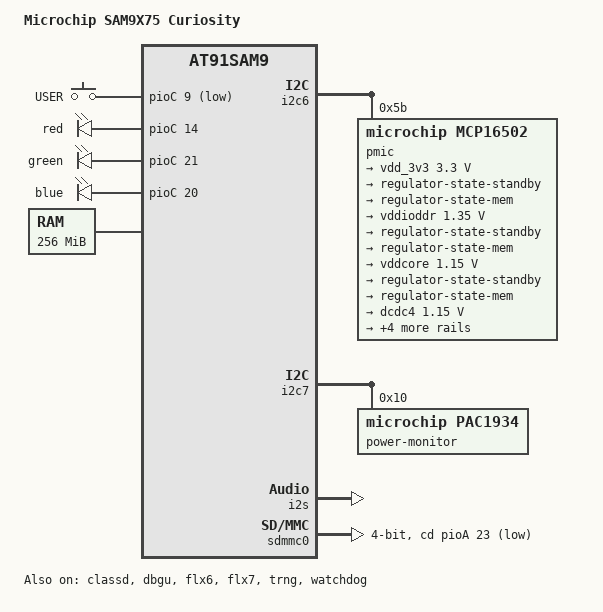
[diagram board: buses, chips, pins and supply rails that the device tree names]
// SPDX-License-Identifier: (GPL-2.0+ OR MIT)
/*
 * at91-sam9x75_curiosity.dts - Device Tree file for Microchip SAM9X75 Curiosity board
 *
 * Copyright (C) 2023 Microchip Technology Inc. and its subsidiaries
 *
 * Author: Varshini Rajendran <varshini.rajendran@microchip.com>
 */
/dts-v1/;
#include "sam9x7.dtsi"
#include <dt-bindings/input/input.h>

/ {
	model = "Microchip SAM9X75 Curiosity";
	compatible = "microchip,sam9x75-curiosity", "microchip,sam9x7", "atmel,at91sam9";

	aliases {
		i2c0 = &i2c6;
	};

	chosen {
		stdout-path = "serial0:115200n8";
	};

	gpio-keys {
		compatible = "gpio-keys";
		pinctrl-names = "default";
		pinctrl-0 = <&pinctrl_key_gpio_default>;

		button-user {
			label = "USER";
			gpios = <&pioC 9 GPIO_ACTIVE_LOW>;
			linux,code = <KEY_0>;
			wakeup-source;
		};
	};

	led-controller {
		compatible = "gpio-leds";

		led_red: led-red {
			label = "red";
			gpios = <&pioC 14 GPIO_ACTIVE_HIGH>;
			pinctrl-0 = <&pinctrl_red_led_gpio_default>;
		};

		led_green: led-green {
			label = "green";
			gpios = <&pioC 21 GPIO_ACTIVE_HIGH>;
			pinctrl-0 = <&pinctrl_green_led_gpio_default>;
		};

		led_blue: led-blue {
			label = "blue";
			gpios = <&pioC 20 GPIO_ACTIVE_HIGH>;
			pinctrl-0 = <&pinctrl_blue_led_gpio_default>;
			linux,default-trigger = "heartbeat";
		};
	};

	memory@20000000 {
		reg = <0x20000000 0x10000000>;
		device_type = "memory";
	};
};

&classd {
	pinctrl-names = "default";
	pinctrl-0 = <&pinctrl_classd_default>;
	atmel,pwm-type = "diff";
	atmel,non-overlap-time = <10>;
	status = "okay";
};

&dbgu {
	pinctrl-names = "default";
	pinctrl-0 = <&pinctrl_dbgu_default>;
	status = "okay";
};

&dma0 {
	status = "okay";
};

&flx6 {
	atmel,flexcom-mode = <ATMEL_FLEXCOM_MODE_TWI>;
	status = "okay";
};

&i2c6 {
	pinctrl-names = "default";
	pinctrl-0 = <&pinctrl_flx6_default>;
	i2c-analog-filter;
	i2c-digital-filter;
	i2c-digital-filter-width-ns = <35>;
	status = "okay";

	pmic@5b {
		compatible = "microchip,mcp16502";
		reg = <0x5b>;

		regulators {
			vdd_3v3: VDD_IO {
				regulator-name = "VDD_IO";
				regulator-min-microvolt = <3300000>;
				regulator-max-microvolt = <3300000>;
				regulator-initial-mode = <2>;
				regulator-allowed-modes = <2>, <4>;
				regulator-always-on;

				regulator-state-standby {
					regulator-on-in-suspend;
					regulator-mode = <4>;
				};

				regulator-state-mem {
					regulator-mode = <4>;
				};
			};

			vddioddr: VDD_DDR {
				regulator-name = "VDD_DDR";
				regulator-min-microvolt = <1350000>;
				regulator-max-microvolt = <1350000>;
				regulator-initial-mode = <2>;
				regulator-allowed-modes = <2>, <4>;
				regulator-always-on;

				regulator-state-standby {
					regulator-on-in-suspend;
					regulator-mode = <4>;
				};

				regulator-state-mem {
					regulator-on-in-suspend;
					regulator-mode = <4>;
				};
			};

			vddcore: VDD_CORE {
				regulator-name = "VDD_CORE";
				regulator-min-microvolt = <1150000>;
				regulator-max-microvolt = <1150000>;
				regulator-initial-mode = <2>;
				regulator-allowed-modes = <2>, <4>;
				regulator-always-on;

				regulator-state-standby {
					regulator-on-in-suspend;
					regulator-mode = <4>;
				};

				regulator-state-mem {
					regulator-mode = <4>;
				};
			};

			dcdc4: VDD_OTHER {
				regulator-name = "VDD_OTHER";
				regulator-min-microvolt = <1150000>;
				regulator-max-microvolt = <1150000>;
				regulator-initial-mode = <2>;
				regulator-allowed-modes = <2>, <4>;
				regulator-ramp-delay = <3125>;
				regulator-always-on;

				regulator-state-standby {
					regulator-on-in-suspend;
					regulator-mode = <4>;
				};

				regulator-state-mem {
					regulator-mode = <4>;
				};
			};

			vldo1: LDO1 {
				regulator-name = "LDO1";
				regulator-min-microvolt = <3300000>;
				regulator-max-microvolt = <3300000>;
				regulator-always-on;

				regulator-state-standby {
					regulator-on-in-suspend;
				};
			};

			vldo2: LDO2 {
				regulator-name = "LDO2";
				regulator-min-microvolt = <1800000>;
				regulator-max-microvolt = <1800000>;

				regulator-state-standby {
					regulator-on-in-suspend;
				};
			};
		};
	};
};

&flx7 {
	atmel,flexcom-mode = <ATMEL_FLEXCOM_MODE_TWI>;
	status = "okay";
};

&i2c7 {
	dmas = <0>, <0>;
	i2c-analog-filter;
	i2c-digital-filter;
	i2c-digital-filter-width-ns = <35>;
	pinctrl-names = "default";
	pinctrl-0 = <&pinctrl_flx7_default>;
	status = "okay";

	power-monitor@10 {
		compatible = "microchip,pac1934";
		reg = <0x10>;
		#address-cells = <1>;
		#size-cells = <0>;

		channel@1 {
			reg = <0x1>;
			shunt-resistor-micro-ohms = <10000>;
			label = "VDD3V3";
		};

		channel@2 {
			reg = <0x2>;
			shunt-resistor-micro-ohms = <10000>;
			label = "DCDC4";
		};

		channel@3 {
			reg = <0x3>;
			shunt-resistor-micro-ohms = <10000>;
			label = "VDDCORE";
		};

		channel@4 {
			reg = <0x4>;
			shunt-resistor-micro-ohms = <10000>;
			label = "VDDIODDR";
		};
	};
};

&i2s {
	pinctrl-names = "default";
	pinctrl-0 = <&pinctrl_i2s_default>;
	#sound-dai-cells = <0>;
	status = "okay";
};

&main_xtal {
	clock-frequency = <24000000>;
};

&pinctrl {
	classd {
		pinctrl_classd_default: classd-default {
			atmel,pins =
				<AT91_PIOA 18 AT91_PERIPH_C AT91_PINCTRL_PULL_UP>,
				<AT91_PIOA 19 AT91_PERIPH_C AT91_PINCTRL_PULL_DOWN>;
		};
	};

	dbgu {
		pinctrl_dbgu_default: dbgu-default {
			atmel,pins = <AT91_PIOA 26 AT91_PERIPH_A AT91_PINCTRL_PULL_UP>,
				     <AT91_PIOA 27 AT91_PERIPH_A AT91_PINCTRL_NONE>;
		};
	};

	flexcom {
		pinctrl_flx6_default: flx6-default {
			atmel,pins =
				<AT91_PIOA 24 AT91_PERIPH_A AT91_PINCTRL_PULL_UP>,
				<AT91_PIOA 25 AT91_PERIPH_A AT91_PINCTRL_PULL_UP>;
		};

		pinctrl_flx7_default: flx7-default {
			atmel,pins =
				<AT91_PIOC 0 AT91_PERIPH_C AT91_PINCTRL_PULL_UP>,
				<AT91_PIOC 1 AT91_PERIPH_C AT91_PINCTRL_PULL_UP>;
		};
	};

	gpio-keys {
		pinctrl_key_gpio_default: key-gpio-default {
			atmel,pins = <AT91_PIOC 9 AT91_PERIPH_GPIO AT91_PINCTRL_NONE>;
		};
	};

	i2s {
		pinctrl_i2s_default: i2s-default {
			atmel,pins =
				<AT91_PIOB 26 AT91_PERIPH_D AT91_PINCTRL_NONE>,		/* I2SCK */
				<AT91_PIOB 15 AT91_PERIPH_D AT91_PINCTRL_NONE>,		/* I2SWS */
				<AT91_PIOB 16 AT91_PERIPH_D AT91_PINCTRL_NONE>,		/* I2SDIN */
				<AT91_PIOB 17 AT91_PERIPH_D AT91_PINCTRL_NONE>,		/* I2SDOUT */
				<AT91_PIOB 25 AT91_PERIPH_D AT91_PINCTRL_NONE>;		/* I2SMCK */
		};
	};

	led-controller {
		pinctrl_red_led_gpio_default: red-led-gpio-default {
			atmel,pins = <AT91_PIOC 14 AT91_PERIPH_GPIO AT91_PINCTRL_NONE>;
		};
		pinctrl_green_led_gpio_default: green-led-gpio-default {
			atmel,pins = <AT91_PIOC 21 AT91_PERIPH_GPIO AT91_PINCTRL_NONE>;
		};
		pinctrl_blue_led_gpio_default: blue-led-gpio-default {
			atmel,pins = <AT91_PIOC 20 AT91_PERIPH_GPIO AT91_PINCTRL_NONE>;
		};
	};

	sdmmc0 {
		pinctrl_sdmmc0_default: sdmmc0-default {
			atmel,pins =
				<AT91_PIOA 2 AT91_PERIPH_A (AT91_PINCTRL_DRIVE_STRENGTH_HI | AT91_PINCTRL_SLEWRATE_ENA)>,				/* PA2 CK  periph A with pullup */
				<AT91_PIOA 1 AT91_PERIPH_A (AT91_PINCTRL_PULL_UP | AT91_PINCTRL_DRIVE_STRENGTH_HI | AT91_PINCTRL_SLEWRATE_ENA)>,	/* PA1 CMD periph A with pullup */
				<AT91_PIOA 0 AT91_PERIPH_A (AT91_PINCTRL_PULL_UP | AT91_PINCTRL_DRIVE_STRENGTH_HI | AT91_PINCTRL_SLEWRATE_ENA)>,	/* PA0 DAT0 periph A */
				<AT91_PIOA 3 AT91_PERIPH_A (AT91_PINCTRL_PULL_UP | AT91_PINCTRL_DRIVE_STRENGTH_HI | AT91_PINCTRL_SLEWRATE_ENA)>,	/* PA3 DAT1 periph A with pullup */
				<AT91_PIOA 4 AT91_PERIPH_A (AT91_PINCTRL_PULL_UP | AT91_PINCTRL_DRIVE_STRENGTH_HI | AT91_PINCTRL_SLEWRATE_ENA)>,	/* PA4 DAT2 periph A with pullup */
				<AT91_PIOA 5 AT91_PERIPH_A (AT91_PINCTRL_PULL_UP | AT91_PINCTRL_DRIVE_STRENGTH_HI | AT91_PINCTRL_SLEWRATE_ENA)>;	/* PA5 DAT3 periph A with pullup */
		};
	};
}; /* pinctrl */

&poweroff {
	debounce-delay-us = <976>;
	status = "okay";

	input@0 {
		reg = <0>;
	};
};

&rtt {
	atmel,rtt-rtc-time-reg = <&gpbr 0x0>;
};

&sdmmc0 {
	bus-width = <4>;
	pinctrl-names = "default";
	pinctrl-0 = <&pinctrl_sdmmc0_default>;
	cd-gpios = <&pioA 23 GPIO_ACTIVE_LOW>;
	disable-wp;
	status = "okay";
};

&slow_xtal {
	clock-frequency = <32768>;
};

&tcb {
	timer0: timer@0 {
		compatible = "atmel,tcb-timer";
		reg = <0>;
	};

	timer1: timer@1 {
		compatible = "atmel,tcb-timer";
		reg = <1>;
	};
};

&trng {
	status = "okay";
};

&watchdog {
	status = "okay";
};
